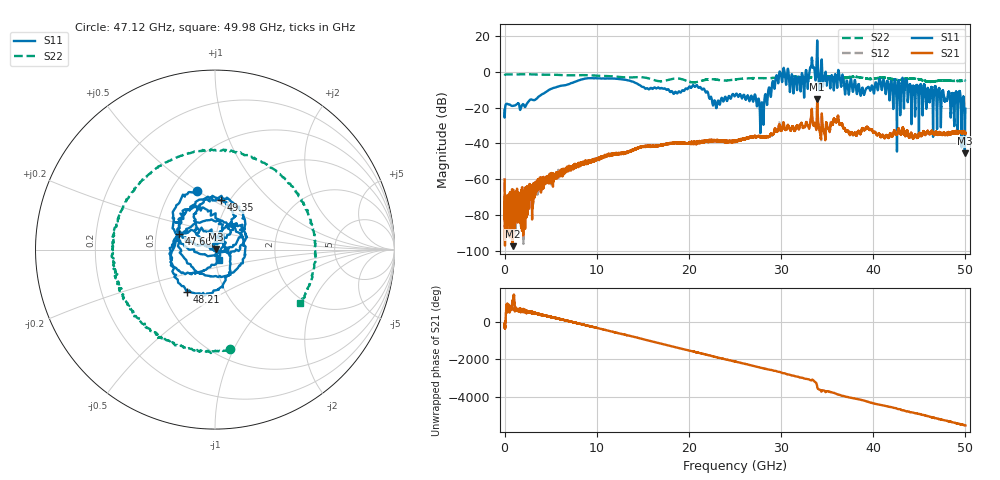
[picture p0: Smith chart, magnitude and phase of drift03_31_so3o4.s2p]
!Created with skrf (http://scikit-rf.org).
# Hz S RI R 50.0
!freq ReS11 ImS11 ReS21 ImS21 ReS12 ImS12 ReS22 ImS22
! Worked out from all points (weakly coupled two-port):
!   10001 points, 300 kHz to 50 GHz, reference 50 ohm
!   highest |S21| = -15.36 dB at 33.92 GHz (marker M1); lowest = -97.5 dB at 860.3 MHz (marker M2)
!   lowest |S11| = -45.5 dB at 49.94 GHz (marker M3), VSWR 1.01, Z = 50.3 + j0.414 ohm
!   |S11| at or under -10 dB: start of sweep to 4.849 GHz; 21.69 GHz to 28.62 GHz (6.933 GHz wide, 27.6 % of centre); 47.19 GHz to end of sweep (the widest 3 of 43)
!   |S22| runs from -5.9 to -1.3 dB; largest |S21 - S12| = 0.02
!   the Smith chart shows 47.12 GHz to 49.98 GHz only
!   S11 on the Smith chart (normalised r, x): 47.12 GHz: 0.67, +0.50; 47.66 GHz: 0.66, +0.12; 48.21 GHz: 0.66, -0.34; 49.35 GHz: 0.91, +0.54; 49.98 GHz: 1.04, -0.12
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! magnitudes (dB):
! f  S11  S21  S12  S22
! 300 kHz  -21.4  -60.1  -61.9  -2.1
! 255.3 MHz  -17.9  -73.9  -74.1  -1.4
! 860.3 MHz  -19.0  -97.5  -78.8  -1.5
! 8.335 GHz  -4.3  -51.7  -51.1  -1.9
! 16.67 GHz  -8.8  -41.2  -41.4  -5.2
! 21.01 GHz  -8.8  -39.4  -39.3  -5.5
! 22.81 GHz  -16.1  -38.7  -38.8  -4.2
! 25 GHz  -13.4  -38.5  -38.8  -4.3
! 27.91 GHz  -17.1  -36.6  -36.4  -3.5
! 29.69 GHz  -6.5  -32.0  -31.5  -3.1
! 32.32 GHz  -1.5  -30.4  -30.6  -3.3
! 33.34 GHz  7.8  -20.7  -21.0  -2.9
! 33.92 GHz  17.5  -15.4  -15.7  -2.5
! 38.82 GHz  -9.0  -31.5  -31.8  -3.4
! 41.67 GHz  -9.0  -36.9  -36.7  -3.7
! 47.12 GHz  -9.3  -34.8  -34.4  -5.0
! 47.66 GHz  -13.2  -34.2  -34.1  -4.8
! 48.21 GHz  -11.0  -35.0  -34.2  -4.9
! 49.35 GHz  -11.1  -34.1  -33.6  -5.1
! 49.94 GHz  -45.5  -34.3  -34.2  -4.9
! 49.98 GHz  -24.1  -34.4  -33.8  -5.0
! 50 GHz  -20.7  -34.4  -34.1  -5.0
